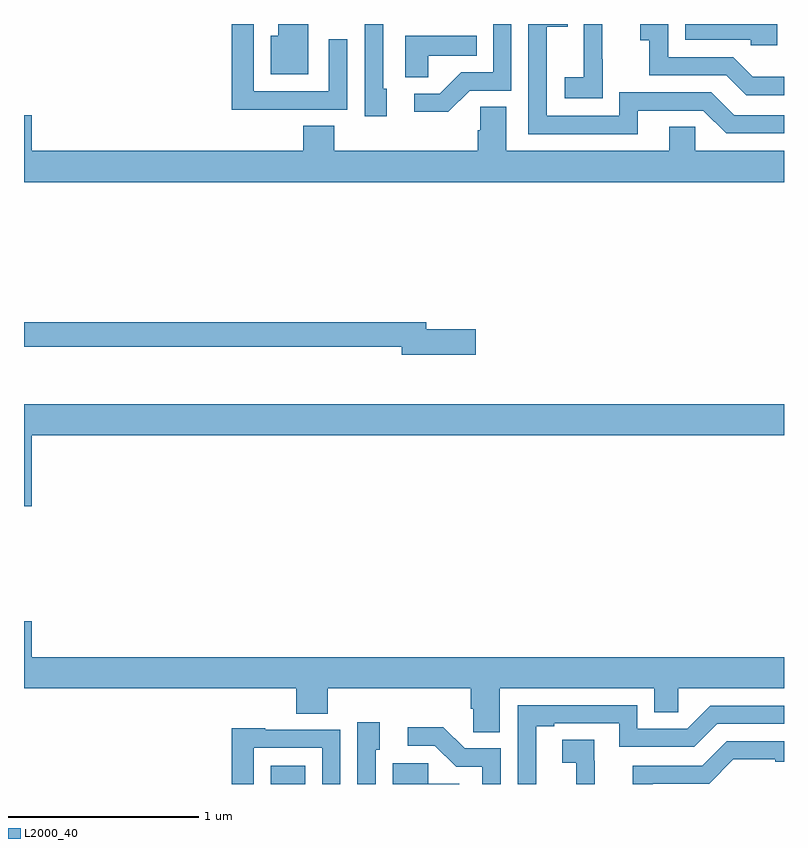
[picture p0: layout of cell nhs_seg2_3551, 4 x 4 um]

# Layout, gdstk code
import gdstk
lib = gdstk.Library(unit=1e-6, precision=1e-09)
def R(c, l, rs):  # rectangles x0, y0, x1, y1
    for r in rs: c.add(gdstk.rectangle(r[:2], r[2:], *l))
def P(c, l, *ps):  # polygons
    for p in ps: c.add(gdstk.Polygon(p, *l))
L2000_40 = (2000, 40)

nhs_seg2_3551 = lib.new_cell('nhs_seg2_3551')
R(nhs_seg2_3551, L2000_40, [(298.298,645.8,298.48,645.895)])
P(nhs_seg2_3551, L2000_40, [(298.909,649.458),(298.89,649.458),(298.89,649.8),(298.794,649.8),(298.794,649.314),(298.909,649.314)],
  [(299.346,649.449),(299.565,649.449),(299.565,649.8),(299.469,649.8),(299.469,649.545),(299.3,649.545),(299.189,649.434),(299.055,649.434),(299.055,649.337),(299.233,649.337)],
  [(298.495,649.8),(298.337,649.8),(298.337,649.738),(298.298,649.738),(298.298,649.535),(298.495,649.535)],
  [(300.045,649.615),(300.044,649.615),(300.044,649.8),(299.946,649.8),(299.946,649.748),(299.945,649.748),(299.945,649.519),(299.847,649.519),(299.847,649.409),(300.045,649.409)],
  [(300.965,649.8),(300.48,649.8),(300.48,649.716),(300.825,649.716),(300.825,649.689),(300.965,649.689)],
  [(298.385,649.35),(298.701,649.35),(298.701,649.72),(298.605,649.72),(298.605,649.446),(298.209,649.446),(298.209,649.8),(298.093,649.8),(298.093,649.349),(298.385,649.349)],
  [(301,649.522),(300.836,649.522),(300.732,649.626),(300.39,649.626),(300.39,649.8),(300.243,649.8),(300.243,649.715),(300.292,649.715),(300.292,649.53),(300.695,649.53),(300.8,649.425),(301,649.425)],
  [(300.229,649.344),(300.576,649.344),(300.696,649.224),(301,649.224),(301,649.32),(300.738,649.32),(300.618,649.44),(300.132,649.44),(300.132,649.317),(299.751,649.317),(299.751,649.786),(299.861,649.786),(299.861,649.8),(299.655,649.8),(299.655,649.221),(300.229,649.221)],
  [(299.127,649.634),(299.384,649.634),(299.384,649.738),(299.006,649.738),(299.006,649.519),(299.127,649.519)],
  [(301,649.132),(300.534,649.132),(300.534,649.259),(300.395,649.259),(300.395,649.132),(299.539,649.132),(299.539,649.364),(299.4,649.364),(299.4,649.241),(299.387,649.241),(299.387,649.132),(298.634,649.132),(298.634,649.265),(298.469,649.265),(298.469,649.132),(297.04,649.132),(297.04,649.321),(297,649.321),(297,648.968),(301,648.968)],
  [(299.377,648.194),(299.116,648.194),(299.116,648.23),(297,648.23),(297,648.102),(298.988,648.102),(298.988,648.059),(299.377,648.059)],
  [(297.04,647.636),(301,647.636),(301,647.8),(297,647.8),(297,647.262),(297.04,647.262)],
  [(299.503,646.304),(300.317,646.304),(300.317,646.177),(300.444,646.177),(300.444,646.304),(301,646.304),(301,646.468),(297.04,646.468),(297.04,646.657),(297,646.657),(297,646.304),(298.433,646.304),(298.433,646.171),(298.598,646.171),(298.598,646.304),(299.351,646.304),(299.351,646.195),(299.364,646.195),(299.364,646.072),(299.503,646.072)],
  [(299.695,646.104),(299.791,646.104),(299.791,646.119),(300.132,646.119),(300.132,645.996),(300.528,645.996),(300.648,646.116),(301,646.116),(301,646.212),(300.612,646.212),(300.492,646.092),(300.228,646.092),(300.228,646.215),(299.598,646.215),(299.598,645.8),(299.695,645.8)],
  [(298.851,645.981),(298.873,645.981),(298.873,646.126),(298.755,646.126),(298.755,645.8),(298.851,645.8)],
  [(299.508,645.987),(299.319,645.987),(299.206,646.1),(299.019,646.1),(299.019,646.002),(299.163,646.002),(299.274,645.891),(299.412,645.891),(299.412,645.8),(299.508,645.8)],
  [(298.209,645.99),(298.569,645.99),(298.569,645.8),(298.665,645.8),(298.665,646.086),(298.269,646.086),(298.269,646.093),(298.093,646.093),(298.093,645.8),(298.209,645.8)],
  [(300.004,645.923),(300.002,645.923),(300.002,646.034),(299.832,646.034),(299.832,645.913),(299.906,645.913),(299.906,645.8),(300.004,645.8)],
  [(300.31,645.801),(300.606,645.801),(300.734,645.929),(300.953,645.929),(300.953,645.918),(301,645.918),(301,646.026),(300.699,646.026),(300.57,645.897),(300.203,645.897),(300.203,645.8),(300.31,645.8)],
  [(299.29,645.802),(299.127,645.802),(299.127,645.909),(298.94,645.909),(298.94,645.8),(299.29,645.8)])

lib.write_gds('nhs_seg2_3551.gds')
